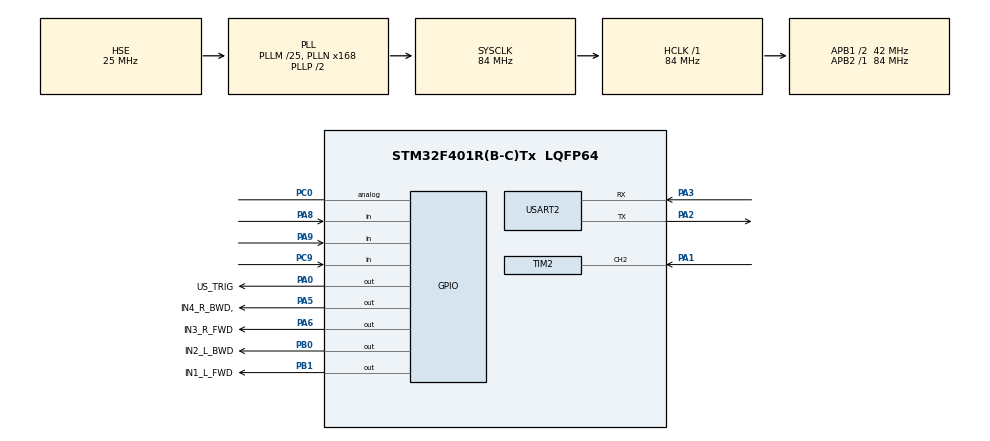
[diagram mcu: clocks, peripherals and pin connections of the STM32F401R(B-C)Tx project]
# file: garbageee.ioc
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Dma.Request0=USART2_RX
Dma.USART2_RX.0.Direction=DMA_PERIPH_TO_MEMORY
Dma.USART2_RX.0.FIFOMode=DMA_FIFOMODE_DISABLE
Dma.USART2_RX.0.Instance=DMA1_Stream5
Dma.USART2_RX.0.MemDataAlignment=DMA_MDATAALIGN_BYTE
Dma.USART2_RX.0.MemInc=DMA_MINC_ENABLE
Dma.USART2_RX.0.Mode=DMA_NORMAL
Dma.USART2_RX.0.PeriphDataAlignment=DMA_PDATAALIGN_BYTE
Dma.USART2_RX.0.PeriphInc=DMA_PINC_DISABLE
Dma.USART2_RX.0.Priority=DMA_PRIORITY_LOW
Mcu.Family=STM32F4
Mcu.Name=STM32F401R(B-C)Tx
Mcu.Package=LQFP64
NVIC.DMA1_Stream5_IRQn=true\:0\:0\:false\:false\:true\:false\:true\:true
NVIC.PriorityGroup=NVIC_PRIORITYGROUP_4
NVIC.TIM2_IRQn=true\:0\:0\:false\:false\:true\:true\:true\:true
NVIC.USART2_IRQn=true\:0\:0\:false\:false\:true\:true\:true\:true
PA0-WKUP.GPIO_Label=US_TRIG
PA0-WKUP.Signal=GPIO_Output
PA1.Signal=S_TIM2_CH2
PA13.Mode=Trace_Asynchronous_SW
PA13.Signal=SYS_JTMS-SWDIO
PA14.Mode=Trace_Asynchronous_SW
PA14.Signal=SYS_JTCK-SWCLK
PA2.Mode=Asynchronous
PA2.Signal=USART2_TX
PA3.Mode=Asynchronous
PA3.Signal=USART2_RX
PA5.GPIO_Label=IN4_R_BWD,
PA5.Signal=GPIO_Output
PA6.GPIO_Label=IN3_R_FWD
PA6.Signal=GPIO_Output
PA8.GPIO_PuPd=GPIO_PULLDOWN
PA8.Signal=GPIO_Input
PA9.GPIO_PuPd=GPIO_PULLDOWN
PA9.Signal=GPIO_Input
PB0.GPIO_Label=IN2_L_BWD
PB0.Signal=GPIO_Output
PB1.GPIO_Label=IN1_L_FWD
PB1.Signal=GPIO_Output
PB3.Mode=Trace_Asynchronous_SW
PB3.Signal=SYS_JTDO-SWO
PC0.Signal=GPIO_Analog
PC9.GPIO_PuPd=GPIO_PULLDOWN
PC9.Signal=GPIO_Input
PH0\ -\ OSC_IN.Mode=HSE-External-Oscillator
PH0\ -\ OSC_IN.Signal=RCC_OSC_IN
PH1\ -\ OSC_OUT.Mode=HSE-External-Oscillator
PH1\ -\ OSC_OUT.Signal=RCC_OSC_OUT
ProjectManager.HeapSize=0x200
ProjectManager.StackSize=0x400
ProjectManager.TargetToolchain=STM32CubeIDE
RCC.48MHZClocksFreq_Value=42000000
RCC.AHBFreq_Value=84000000
RCC.APB1CLKDivider=RCC_HCLK_DIV2
RCC.APB1Freq_Value=42000000
RCC.APB1TimFreq_Value=84000000
RCC.APB2Freq_Value=84000000
RCC.APB2TimFreq_Value=84000000
RCC.CortexFreq_Value=84000000
RCC.HCLKFreq_Value=84000000
RCC.HSE_VALUE=25000000
RCC.HSI_VALUE=16000000
RCC.LSE_VALUE=32768
RCC.PLLM=25
RCC.PLLN=168
RCC.PLLSourceVirtual=RCC_PLLSOURCE_HSE
RCC.SYSCLKFreq_VALUE=84000000
RCC.SYSCLKSource=RCC_SYSCLKSOURCE_PLLCLK
RCC.VCOOutputFreq_Value=168000000
SH.S_TIM2_CH2.0=TIM2_CH2,Input_Capture2_from_TI2
TIM2.Channel-Input_Capture2_from_TI2=TIM_CHANNEL_2
TIM2.Period=65535
TIM2.Prescaler=83
USART2.VirtualMode=VM_ASYNC
VP_TIM2_VS_ClockSourceINT.Mode=Internal
board=custom

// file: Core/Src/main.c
/* USER CODE BEGIN Header */
/**
  ******************************************************************************
  * @file           : main.c
  * @brief          : Main program body
  ******************************************************************************
  * @attention
  *
  * Copyright (c) 2025 STMicroelectronics.
  * All rights reserved.
  *
  ******************************************************************************
  */
/* USER CODE END Header */
#include "main.h"

TIM_HandleTypeDef htim2;

UART_HandleTypeDef huart2;
DMA_HandleTypeDef hdma_usart2_rx;

void SystemClock_Config(void);
static void MX_GPIO_Init(void);
static void MX_DMA_Init(void);
static void MX_TIM2_Init(void);
static void MX_USART2_UART_Init(void);

/* USER CODE BEGIN 0 */
void moveForward(void) {
    // Set forward pins HIGH, backward pins LOW
    HAL_GPIO_WritePin(IN1_L_FWD_GPIO_Port, IN1_L_FWD_Pin, GPIO_PIN_SET);
    HAL_GPIO_WritePin(IN3_R_FWD_GPIO_Port, IN3_R_FWD_Pin, GPIO_PIN_SET);
    HAL_GPIO_WritePin(IN2_L_BWD_GPIO_Port, IN2_L_BWD_Pin, GPIO_PIN_RESET);
    HAL_GPIO_WritePin(IN4_R_BWD__GPIO_Port, IN4_R_BWD__Pin, GPIO_PIN_RESET);
}

void stopCar(void) {
    // Set all motor driver pins to LOW
    HAL_GPIO_WritePin(IN1_L_FWD_GPIO_Port, IN1_L_FWD_Pin, GPIO_PIN_RESET);
    HAL_GPIO_WritePin(IN3_R_FWD_GPIO_Port, IN3_R_FWD_Pin, GPIO_PIN_RESET);
    HAL_GPIO_WritePin(IN2_L_BWD_GPIO_Port, IN2_L_BWD_Pin, GPIO_PIN_RESET);
    HAL_GPIO_WritePin(IN4_R_BWD__GPIO_Port, IN4_R_BWD__Pin, GPIO_PIN_RESET);
}
/* USER CODE END 0 */

int main(void)
{

  /* MCU Configuration--------------------------------------------------------*/

  /* Reset of all peripherals, Initializes the Flash interface and the Systick. */
  HAL_Init();

  /* Configure the system clock */
  SystemClock_Config();

  /* Initialize all configured peripherals */
  MX_GPIO_Init();
  MX_DMA_Init();
  MX_TIM2_Init();
  MX_USART2_UART_Init();
  /* USER CODE BEGIN 2 */

  // Ensure the car is stopped at startup
  stopCar();

  /* USER CODE END 2 */

  /* Infinite loop */
  /* USER CODE BEGIN WHILE */
  while (1)
  {
      // Read the digital state of the MOVE_PIN (Assumed PA8)
      GPIO_PinState move_state = HAL_GPIO_ReadPin(GPIOA, GPIO_PIN_8);

      // Read the digital state of the STOP_PIN (Assumed PA9)
      GPIO_PinState stop_state = HAL_GPIO_ReadPin(GPIOA, GPIO_PIN_9);

      // Logic: STOP signal is prioritized
      if (stop_state == GPIO_PIN_SET)
      {
          stopCar();
      }
      else if (move_state == GPIO_PIN_SET)
      {
          moveForward();
      }
      else
      {
          stopCar();
      }

      HAL_Delay(50);

    /* USER CODE END WHILE */

  }
}

void SystemClock_Config(void)
{
  RCC_OscInitTypeDef RCC_OscInitStruct = {0};
  RCC_ClkInitTypeDef RCC_ClkInitStruct = {0};

  /** Configure the main internal regulator output voltage
  */
  __HAL_RCC_PWR_CLK_ENABLE();
  __HAL_PWR_VOLTAGESCALING_CONFIG(PWR_REGULATOR_VOLTAGE_SCALE2);

  /** Initializes the RCC Oscillators according to the specified parameters
  * in the RCC_OscInitTypeDef structure.
  */
  RCC_OscInitStruct.OscillatorType = RCC_OSCILLATORTYPE_HSE;
  RCC_OscInitStruct.HSEState = RCC_HSE_ON;
  RCC_OscInitStruct.PLL.PLLState = RCC_PLL_ON;
  RCC_OscInitStruct.PLL.PLLSource = RCC_PLLSOURCE_HSE;
  RCC_OscInitStruct.PLL.PLLM = 25;
  RCC_OscInitStruct.PLL.PLLN = 168;
  RCC_OscInitStruct.PLL.PLLP = RCC_PLLP_DIV2;
  RCC_OscInitStruct.PLL.PLLQ = 4;
  if (HAL_RCC_OscConfig(&RCC_OscInitStruct) != HAL_OK)
  {
    Error_Handler();
  }

  /** Initializes the CPU, AHB and APB buses clocks
  */
  RCC_ClkInitStruct.ClockType = RCC_CLOCKTYPE_HCLK|RCC_CLOCKTYPE_SYSCLK
                              |RCC_CLOCKTYPE_PCLK1|RCC_CLOCKTYPE_PCLK2;
  RCC_ClkInitStruct.SYSCLKSource = RCC_SYSCLKSOURCE_PLLCLK;
  RCC_ClkInitStruct.AHBCLKDivider = RCC_SYSCLK_DIV1;
  RCC_ClkInitStruct.APB1CLKDivider = RCC_HCLK_DIV2;
  RCC_ClkInitStruct.APB2CLKDivider = RCC_HCLK_DIV1;

  if (HAL_RCC_ClockConfig(&RCC_ClkInitStruct, FLASH_LATENCY_2) != HAL_OK)
  {
    Error_Handler();
  }
}

static void MX_TIM2_Init(void)
{

  TIM_ClockConfigTypeDef sClockSourceConfig = {0};
  TIM_MasterConfigTypeDef sMasterConfig = {0};
  TIM_IC_InitTypeDef sConfigIC = {0};

  htim2.Instance = TIM2;
  htim2.Init.Prescaler = 83;
  htim2.Init.CounterMode = TIM_COUNTERMODE_UP;
  htim2.Init.Period = 65535;
  htim2.Init.ClockDivision = TIM_CLOCKDIVISION_DIV1;
  htim2.Init.AutoReloadPreload = TIM_AUTORELOAD_PRELOAD_DISABLE;
  if (HAL_TIM_Base_Init(&htim2) != HAL_OK)
  {
    Error_Handler();
  }
  sClockSourceConfig.ClockSource = TIM_CLOCKSOURCE_INTERNAL;
  if (HAL_TIM_ConfigClockSource(&htim2, &sClockSourceConfig) != HAL_OK)
  {
    Error_Handler();
  }
  if (HAL_TIM_IC_Init(&htim2) != HAL_OK)
  {
    Error_Handler();
  }
  sMasterConfig.MasterOutputTrigger = TIM_TRGO_RESET;
  sMasterConfig.MasterSlaveMode = TIM_MASTERSLAVEMODE_DISABLE;
  if (HAL_TIMEx_MasterConfigSynchronization(&htim2, &sMasterConfig) != HAL_OK)
  {
    Error_Handler();
  }
  sConfigIC.ICPolarity = TIM_INPUTCHANNELPOLARITY_RISING;
  sConfigIC.ICSelection = TIM_ICSELECTION_DIRECTTI;
  sConfigIC.ICPrescaler = TIM_ICPSC_DIV1;
  sConfigIC.ICFilter = 0;
  if (HAL_TIM_IC_ConfigChannel(&htim2, &sConfigIC, TIM_CHANNEL_2) != HAL_OK)
  {
    Error_Handler();
  }

}

static void MX_USART2_UART_Init(void)
{

  huart2.Instance = USART2;
  huart2.Init.BaudRate = 115200;
  huart2.Init.WordLength = UART_WORDLENGTH_8B;
  huart2.Init.StopBits = UART_STOPBITS_1;
  huart2.Init.Parity = UART_PARITY_NONE;
  huart2.Init.Mode = UART_MODE_TX_RX;
  huart2.Init.HwFlowCtl = UART_HWCONTROL_NONE;
  huart2.Init.OverSampling = UART_OVERSAMPLING_16;
  if (HAL_UART_Init(&huart2) != HAL_OK)
  {
    Error_Handler();
  }

}

static void MX_DMA_Init(void)
{

  /* DMA controller clock enable */
  __HAL_RCC_DMA1_CLK_ENABLE();

  /* DMA interrupt init */
  /* DMA1_Stream5_IRQn interrupt configuration */
  HAL_NVIC_SetPriority(DMA1_Stream5_IRQn, 0, 0);
  HAL_NVIC_EnableIRQ(DMA1_Stream5_IRQn);

}

static void MX_GPIO_Init(void)
{
  GPIO_InitTypeDef GPIO_InitStruct = {0};

  /* GPIO Ports Clock Enable */
  __HAL_RCC_GPIOH_CLK_ENABLE();
  __HAL_RCC_GPIOC_CLK_ENABLE();
  __HAL_RCC_GPIOA_CLK_ENABLE();
  __HAL_RCC_GPIOB_CLK_ENABLE();

  /*Configure GPIO pin Output Level */
  HAL_GPIO_WritePin(GPIOA, US_TRIG_Pin|IN4_R_BWD__Pin|IN3_R_FWD_Pin, GPIO_PIN_RESET);

  /*Configure GPIO pin Output Level */
  HAL_GPIO_WritePin(GPIOB, IN2_L_BWD_Pin|IN1_L_FWD_Pin, GPIO_PIN_RESET);

  /*Configure GPIO pin : PC0 */
  GPIO_InitStruct.Pin = GPIO_PIN_0;
  GPIO_InitStruct.Mode = GPIO_MODE_ANALOG;
  GPIO_InitStruct.Pull = GPIO_NOPULL;
  HAL_GPIO_Init(GPIOC, &GPIO_InitStruct);

  /*Configure GPIO pins : US_TRIG_Pin IN4_R_BWD__Pin IN3_R_FWD_Pin */
  GPIO_InitStruct.Pin = US_TRIG_Pin|IN4_R_BWD__Pin|IN3_R_FWD_Pin;
  GPIO_InitStruct.Mode = GPIO_MODE_OUTPUT_PP;
  GPIO_InitStruct.Pull = GPIO_NOPULL;
  GPIO_InitStruct.Speed = GPIO_SPEED_FREQ_LOW;
  HAL_GPIO_Init(GPIOA, &GPIO_InitStruct);

  /*Configure GPIO pins : IN2_L_BWD_Pin IN1_L_FWD_Pin */
  GPIO_InitStruct.Pin = IN2_L_BWD_Pin|IN1_L_FWD_Pin;
  GPIO_InitStruct.Mode = GPIO_MODE_OUTPUT_PP;
  GPIO_InitStruct.Pull = GPIO_NOPULL;
  GPIO_InitStruct.Speed = GPIO_SPEED_FREQ_LOW;
  HAL_GPIO_Init(GPIOB, &GPIO_InitStruct);

  /*Configure GPIO pin : PC9 */
  GPIO_InitStruct.Pin = GPIO_PIN_9;
  GPIO_InitStruct.Mode = GPIO_MODE_INPUT;
  GPIO_InitStruct.Pull = GPIO_PULLDOWN;
  HAL_GPIO_Init(GPIOC, &GPIO_InitStruct);

  /*Configure GPIO pins : PA8 PA9 */
  GPIO_InitStruct.Pin = GPIO_PIN_8|GPIO_PIN_9;
  GPIO_InitStruct.Mode = GPIO_MODE_INPUT;
  GPIO_InitStruct.Pull = GPIO_PULLDOWN;
  HAL_GPIO_Init(GPIOA, &GPIO_InitStruct);

}

void Error_Handler(void)
{
  __disable_irq();
  while (1)
  {
  }
}
